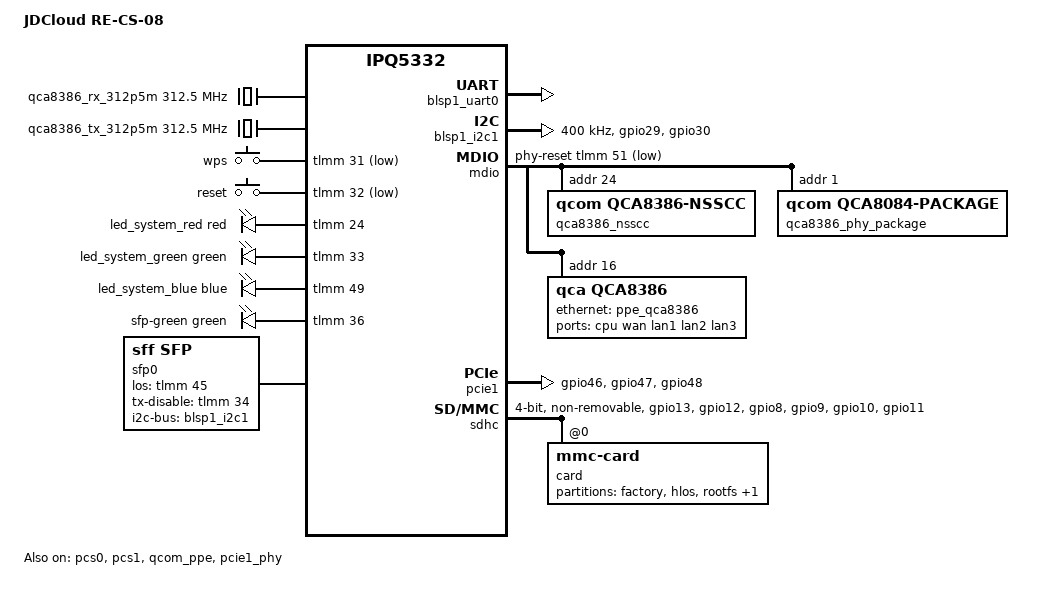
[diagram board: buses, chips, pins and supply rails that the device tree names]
// SPDX-License-Identifier: (GPL-2.0+ OR BSD-3-Clause)

/dts-v1/;

#include "ipq5332.dtsi"
#include <dt-bindings/clock/qcom,qca8k-nsscc.h>
#include <dt-bindings/gpio/gpio.h>
#include <dt-bindings/input/input.h>
#include <dt-bindings/leds/common.h>
#include <dt-bindings/net/qcom,qca808x.h>
#include <dt-bindings/reset/qcom,qca8k-nsscc.h>

/ {
	model = "JDCloud RE-CS-08";
	compatible = "jdcloud,re-cs-08", "qcom,ipq5332";

	aliases {
		serial0 = &blsp1_uart0;
		ethernet0 = &ppe_sfp;
		ethernet1 = &ppe_qca8386;
		led-boot = &led_system_blue;
		led-failsafe = &led_system_red;
		led-running = &led_system_green;
		led-upgrade = &led_system_red;
	};

	chosen {
		stdout-path = "serial0:115200n8";
	};

	clocks {
		qca8386_rx_312p5m: qca8386-rx-312p5m {
			compatible = "fixed-clock";
			#clock-cells = <0>;
			clock-frequency = <312500000>;
		};

		qca8386_tx_312p5m: qca8386-tx-312p5m {
			compatible = "fixed-clock";
			#clock-cells = <0>;
			clock-frequency = <312500000>;
		};
	};

	keys {
		compatible = "gpio-keys";
		pinctrl-0 = <&button_pins>;
		pinctrl-names = "default";

		button-wps {
			label = "wps";
			gpios = <&tlmm 31 GPIO_ACTIVE_LOW>;
			linux,code = <KEY_WPS_BUTTON>;
			debounce-interval = <60>;
		};

		button-reset {
			label = "reset";
			gpios = <&tlmm 32 GPIO_ACTIVE_LOW>;
			linux,code = <KEY_RESTART>;
			debounce-interval = <60>;
		};
	};

	leds {
		compatible = "gpio-leds";
		pinctrl-0 = <&led_pins>;
		pinctrl-names = "default";

		led_system_red: system-red {
			color = <LED_COLOR_ID_RED>;
			function = LED_FUNCTION_STATUS;
			gpios = <&tlmm 24 GPIO_ACTIVE_HIGH>;
			default-state = "off";
		};

		led_system_green: system-green {
			color = <LED_COLOR_ID_GREEN>;
			function = LED_FUNCTION_STATUS;
			gpios = <&tlmm 33 GPIO_ACTIVE_HIGH>;
			default-state = "off";
		};

		led_system_blue: system-blue {
			color = <LED_COLOR_ID_BLUE>;
			function = LED_FUNCTION_STATUS;
			gpios = <&tlmm 49 GPIO_ACTIVE_HIGH>;
			default-state = "off";
		};

		sfp-green {
			color = <LED_COLOR_ID_GREEN>;
			function = LED_FUNCTION_WAN;
			gpios = <&tlmm 36 GPIO_ACTIVE_HIGH>;
			default-state = "off";
		};
	};

	/* QWRT identifies GPIO45 as RX_LOS and GPIO34 as TX_DISABLE. */
	sfp0: sfp-0 {
		compatible = "sff,sfp";
		i2c-bus = <&blsp1_i2c1>;
		pinctrl-0 = <&sfp_pins>;
		pinctrl-names = "default";
		los-gpios = <&tlmm 45 GPIO_ACTIVE_HIGH>;
		tx-disable-gpios = <&tlmm 34 GPIO_ACTIVE_HIGH>;
	};
};

&blsp1_uart0 {
	status = "okay";

	pinctrl-0 = <&serial_0_pins>;
	pinctrl-names = "default";
};

&blsp1_i2c1 {
	clock-frequency = <400000>;
	status = "okay";

	pinctrl-0 = <&i2c1_pins>;
	pinctrl-names = "default";
};

&q6_region {
	reg = <0x0 0x4a900000 0x0 0x800000>;
};

&sleep_clk {
	clock-frequency = <32000>;
};

&ref_48mhz_clk {
	clock-div = <1>;
	clock-mult = <2>;
};

&xo_clk {
	clock-frequency = <24000000>;
};

&xo_board {
	clock-div = <2>;
	clock-mult = <1>;
};

&mdio {
	status = "okay";
	clocks = <&gcc GCC_MDIO_AHB_CLK>,
		 <&gcc GCC_UNIPHY0_AHB_CLK>,
		 <&gcc GCC_UNIPHY0_SYS_CLK>,
		 <&gcc GCC_UNIPHY1_AHB_CLK>,
		 <&gcc GCC_UNIPHY1_SYS_CLK>;
	clock-names = "gcc_mdio_ahb_clk",
		      "uniphy0_ahb_clk", "uniphy0_sys_clk",
		      "uniphy1_ahb_clk", "uniphy1_sys_clk";
	phy-reset-gpios = <&tlmm 51 GPIO_ACTIVE_LOW>;
	mdio_clk_fixup;

	qca8386_nsscc: clock-controller@18 {
		compatible = "qcom,qca8386-nsscc", "qcom,qca8084-nsscc";
		reg = <0x18>;
		clocks = <&cmn_pll IPQ5332_ETH_50MHZ_CLK>,
			 <0>, <0>,
			 <&qca8386_rx_312p5m>, <&qca8386_tx_312p5m>,
			 <&qca8386_rx_312p5m>, <&qca8386_tx_312p5m>;
		#clock-cells = <1>;
		#reset-cells = <1>;
	};

	qca8386_phy_package: ethernet-phy-package@1 {
		#address-cells = <1>;
		#size-cells = <0>;
		compatible = "qcom,qca8084-package";
		reg = <1>;
		clocks = <&qca8386_nsscc NSS_CC_APB_BRIDGE_CLK>,
			 <&qca8386_nsscc NSS_CC_AHB_CLK>,
			 <&qca8386_nsscc NSS_CC_SEC_CTRL_AHB_CLK>,
			 <&qca8386_nsscc NSS_CC_TLMM_CLK>,
			 <&qca8386_nsscc NSS_CC_TLMM_AHB_CLK>,
			 <&qca8386_nsscc NSS_CC_CNOC_AHB_CLK>,
			 <&qca8386_nsscc NSS_CC_MDIO_AHB_CLK>;
		clock-names = "apb_bridge",
			      "ahb",
			      "sec_ctrl_ahb",
			      "tlmm",
			      "tlmm_ahb",
			      "cnoc_ahb",
			      "mdio_ahb";
		resets = <&qca8386_nsscc NSS_CC_GEPHY_FULL_ARES>;
		qcom,phy-addr-fixup = <1 2 3 4 5 6 7>;
		qcom,package-mode = <QCA808X_PCS1_SGMII_MAC_PCS0_SGMII_MAC>;
		qcom,pcs1-sgmii-plus;

		qca8386_phy1: ethernet-phy@1 {
			compatible = "ethernet-phy-id004d.d180";
			reg = <1>;
			clocks = <&qca8386_nsscc NSS_CC_GEPHY0_SYS_CLK>,
				 <&qca8386_nsscc NSS_CC_MAC1_TX_CLK>,
				 <&qca8386_nsscc NSS_CC_MAC1_RX_CLK>,
				 <&qca8386_nsscc NSS_CC_MAC1_GEPHY0_TX_CLK>,
				 <&qca8386_nsscc NSS_CC_MAC1_GEPHY0_RX_CLK>;
			clock-names = "phy", "mac_tx", "mac_rx",
				      "gephy_tx", "gephy_rx";
			resets = <&qca8386_nsscc NSS_CC_GEPHY0_SYS_ARES>;
		};

		qca8386_phy2: ethernet-phy@2 {
			compatible = "ethernet-phy-id004d.d180";
			reg = <2>;
			clocks = <&qca8386_nsscc NSS_CC_GEPHY1_SYS_CLK>,
				 <&qca8386_nsscc NSS_CC_MAC2_TX_CLK>,
				 <&qca8386_nsscc NSS_CC_MAC2_RX_CLK>,
				 <&qca8386_nsscc NSS_CC_MAC2_GEPHY1_TX_CLK>,
				 <&qca8386_nsscc NSS_CC_MAC2_GEPHY1_RX_CLK>;
			clock-names = "phy", "mac_tx", "mac_rx",
				      "gephy_tx", "gephy_rx";
			resets = <&qca8386_nsscc NSS_CC_GEPHY1_SYS_ARES>;
		};

		qca8386_phy3: ethernet-phy@3 {
			compatible = "ethernet-phy-id004d.d180";
			reg = <3>;
			clocks = <&qca8386_nsscc NSS_CC_GEPHY2_SYS_CLK>,
				 <&qca8386_nsscc NSS_CC_MAC3_TX_CLK>,
				 <&qca8386_nsscc NSS_CC_MAC3_RX_CLK>,
				 <&qca8386_nsscc NSS_CC_MAC3_GEPHY2_TX_CLK>,
				 <&qca8386_nsscc NSS_CC_MAC3_GEPHY2_RX_CLK>;
			clock-names = "phy", "mac_tx", "mac_rx",
				      "gephy_tx", "gephy_rx";
			resets = <&qca8386_nsscc NSS_CC_GEPHY2_SYS_ARES>;
		};

		qca8386_phy4: ethernet-phy@4 {
			compatible = "ethernet-phy-id004d.d180";
			reg = <4>;
			clocks = <&qca8386_nsscc NSS_CC_GEPHY3_SYS_CLK>,
				 <&qca8386_nsscc NSS_CC_MAC4_TX_CLK>,
				 <&qca8386_nsscc NSS_CC_MAC4_RX_CLK>,
				 <&qca8386_nsscc NSS_CC_MAC4_GEPHY3_TX_CLK>,
				 <&qca8386_nsscc NSS_CC_MAC4_GEPHY3_RX_CLK>;
			clock-names = "phy", "mac_tx", "mac_rx",
				      "gephy_tx", "gephy_rx";
			resets = <&qca8386_nsscc NSS_CC_GEPHY3_SYS_ARES>;
		};

		/* PCS1 is the QCA8386 switch CPU SerDes (MDIO base + 5). */
		qca8386_pcs1: pcs-phy@6 {
			compatible = "qcom,qca8k-pcs-phy";
			reg = <6>;
			clocks = <&qca8386_nsscc NSS_CC_SRDS1_SYS_CLK>,
				 <&qca8386_rx_312p5m>, <&qca8386_tx_312p5m>,
				 <&qca8386_nsscc NSS_CC_MAC0_TX_CLK>,
				 <&qca8386_nsscc NSS_CC_MAC0_RX_CLK>,
				 <&qca8386_nsscc NSS_CC_MAC0_TX_SRDS1_CLK>,
				 <&qca8386_nsscc NSS_CC_MAC0_RX_SRDS1_CLK>;
			clock-names = "pcs", "pcs_rx_root", "pcs_tx_root",
				      "mac_tx", "mac_rx",
				      "mac_tx_serdes", "mac_rx_serdes";
			resets = <&qca8386_nsscc NSS_CC_SRDS1_SYS_ARES>,
				 <&qca8386_nsscc NSS_CC_XPCS_ARES>;
			reset-names = "pcs", "xpcs";
		};
	};

	qca8386: switch@10 {
		compatible = "qca,qca8386";
		reg = <0x10>;

		ports {
			#address-cells = <1>;
			#size-cells = <0>;

			port@0 {
				reg = <0>;
				label = "cpu";
				ethernet = <&ppe_qca8386>;
				dsa-tag-protocol = "qca_4b";
				phy-mode = "2500base-x";

				fixed-link {
					speed = <2500>;
					full-duplex;
				};
			};

			port@1 {
				reg = <1>;
				label = "wan";
				phy-mode = "sgmii";
				phy-handle = <&qca8386_phy1>;
			};

			port@2 {
				reg = <2>;
				label = "lan1";
				phy-mode = "sgmii";
				phy-handle = <&qca8386_phy2>;
			};

			port@3 {
				reg = <3>;
				label = "lan2";
				phy-mode = "sgmii";
				phy-handle = <&qca8386_phy3>;
			};

			port@4 {
				reg = <4>;
				label = "lan3";
				phy-mode = "sgmii";
				phy-handle = <&qca8386_phy4>;
			};
		};
	};
};

&pcs0 {
	status = "okay";
};

&pcs1 {
	status = "okay";
};

&qcom_ppe {
	status = "okay";

	ethernet-ports {
		#address-cells = <1>;
		#size-cells = <0>;

		ppe_qca8386: port@1 {
			reg = <1>;
			label = "switch";
			phy-mode = "2500base-x";
			pcs-handle = <&pcs0_ch0>;
			clocks = <&nsscc NSS_CC_PORT1_MAC_CLK>,
				 <&nsscc NSS_CC_PORT1_RX_CLK>,
				 <&nsscc NSS_CC_PORT1_TX_CLK>;
			clock-names = "mac",
				      "rx",
				      "tx";
			resets = <&nsscc NSS_CC_PORT1_MAC_CLK_ARES>,
				 <&nsscc NSS_CC_PORT1_RX_CLK_ARES>,
				 <&nsscc NSS_CC_PORT1_TX_CLK_ARES>;
			reset-names = "mac",
				      "rx",
				      "tx";

			fixed-link {
				speed = <2500>;
				full-duplex;
			};
		};

		ppe_sfp: port@2 {
			reg = <2>;
			label = "sfp";
			phy-mode = "2500base-x";
			managed = "in-band-status";
			sfp = <&sfp0>;
			pcs-handle = <&pcs1_ch0>;
			clocks = <&nsscc NSS_CC_PORT2_MAC_CLK>,
				 <&nsscc NSS_CC_PORT2_RX_CLK>,
				 <&nsscc NSS_CC_PORT2_TX_CLK>;
			clock-names = "mac",
				      "rx",
				      "tx";
			resets = <&nsscc NSS_CC_PORT2_MAC_CLK_ARES>,
				 <&nsscc NSS_CC_PORT2_RX_CLK_ARES>,
				 <&nsscc NSS_CC_PORT2_TX_CLK_ARES>;
			reset-names = "mac",
				      "rx",
				      "tx";
		};
	};
};

&pcie1 {
	status = "okay";

	pinctrl-0 = <&pcie1_pins>;
	pinctrl-names = "default";

	/delete-property/ phys;
	/delete-property/ phy-names;

	pcie@0 {
		phys = <&pcie1_phy>;
		reset-gpios = <&tlmm 47 GPIO_ACTIVE_LOW>;
		wake-gpios = <&tlmm 48 GPIO_ACTIVE_LOW>;
	};
};

&pcie1_phy {
	status = "okay";
};

&sdhc {
	status = "okay";

	#address-cells = <1>;
	#size-cells = <0>;
	bus-width = <4>;
	max-frequency = <192000000>;
	mmc-ddr-1_8v;
	mmc-hs200-1_8v;
	non-removable;
	pinctrl-0 = <&sdc_default_state>;
	pinctrl-names = "default";

	card@0 {
		compatible = "mmc-card";
		reg = <0>;

		block {
			compatible = "block-device";

			partitions {
				factory: block-partition-factory {
					partname = "factory";
				};

				hlos: block-partition-hlos {
					partname = "0:HLOS";
				};

				rootfs: block-partition-rootfs {
					partname = "rootfs";
				};

				rootfs_data: block-partition-rootfs-data {
					partname = "rootfs_data";
				};
			};
		};
	};
};

&tlmm {
	i2c1_pins: i2c1-state {
		pins = "gpio29", "gpio30";
		function = "blsp1_i2c0";
		drive-strength = <16>;
		bias-pull-up;
	};

	pcie1_pins: pcie1-default-state {
		clkreq-n-pins {
			pins = "gpio46";
			function = "pcie1_clk";
			drive-strength = <8>;
			bias-pull-up;
		};

		perst-n-pins {
			pins = "gpio47";
			function = "gpio";
			drive-strength = <8>;
			bias-pull-up;
			output-low;
		};

		wake-n-pins {
			pins = "gpio48";
			function = "pcie1_wake";
			drive-strength = <8>;
			bias-pull-up;
		};
	};

	sfp_pins: sfp-default-state {
		rx-pins {
			pins = "gpio45";
			function = "gpio";
			bias-disable;
		};

		tx-disable-pins {
			pins = "gpio34";
			function = "gpio";
			drive-strength = <8>;
			bias-pull-down;
			output-low;
		};
	};

	button_pins: button-pins {
		pins = "gpio31", "gpio32";
		function = "gpio";
		drive-strength = <8>;
		bias-pull-up;
	};

	led_pins: led-pins {
		pins = "gpio24", "gpio33", "gpio36", "gpio49";
		function = "gpio";
		drive-strength = <8>;
		bias-pull-down;
	};

	sdc_default_state: sdc-default-state {
		clk-pins {
			pins = "gpio13";
			function = "sdc_clk";
			drive-strength = <8>;
			bias-disable;
		};

		cmd-pins {
			pins = "gpio12";
			function = "sdc_cmd";
			drive-strength = <8>;
			bias-pull-up;
		};

		data-pins {
			pins = "gpio8", "gpio9", "gpio10", "gpio11";
			function = "sdc_data";
			drive-strength = <8>;
			bias-pull-up;
		};
	};
};
